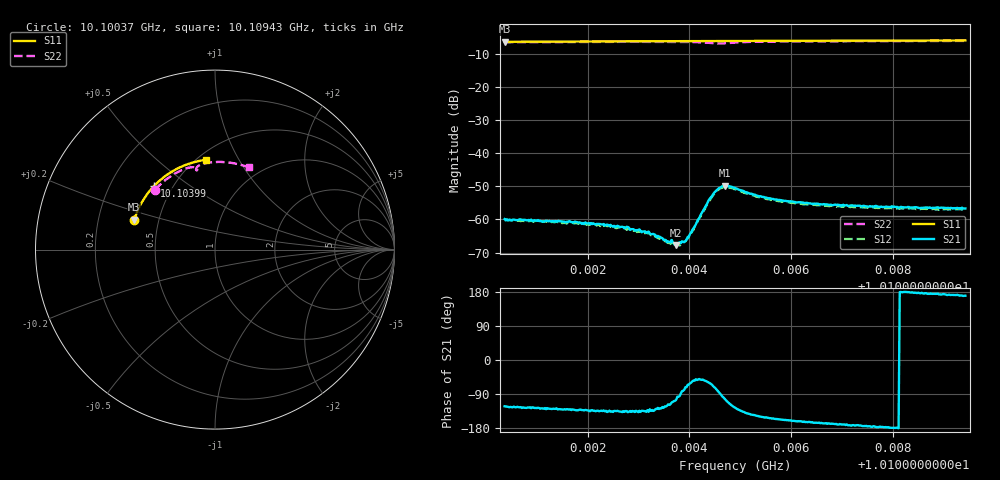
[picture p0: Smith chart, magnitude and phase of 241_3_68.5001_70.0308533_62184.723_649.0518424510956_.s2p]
#  HZ  S  RI  R  50.00
! Rohde & Schwarz Vector Network Analyzer
! Rohde-Schwarz,ZNB20-2Port,1311601062101988,3.16
! Created: UTC 3/20/2024, 4:59:22 PM
! freq[Hz]  re:S11  im:S11  re:S21  im:S21  re:S12  im:S12  re:S22  im:S22
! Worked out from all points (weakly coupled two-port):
!   401 points, 10.10037 GHz to 10.10943 GHz, reference 50 ohm
!   highest |S21| = -49.82 dB at 10.10469 GHz (marker M1); lowest = -67.7 dB at 10.10374 GHz (marker M2)
!   lowest |S11| = -6.4 dB at 10.10037 GHz (marker M3), VSWR 2.84, Z = 18.1 + j7.85 ohm
!   |S11| at or under -10 dB: nowhere
!   |S22| runs from -6.9 to -6.1 dB; largest |S21 - S12| = 0.00033
!   S11 on the Smith chart (normalised r, x): 10.10037 GHz: 0.36, +0.16; 10.10399 GHz: 0.40, +0.37; 10.10943 GHz: 0.55, +0.74
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1.0100367e10  -0.4497 0.1672  -0.000538 -0.000857  -0.00045 -0.000852  -0.3343 0.3337
1.010107e10  -0.4351 0.2073  -0.000595 -0.000745  -0.000518 -0.000788  -0.3023 0.3658
1.0101636e10  -0.4208 0.2389  -0.000615 -0.000714  -0.000527 -0.000689  -0.2741 0.3895
1.0101885e10  -0.4139 0.2524  -0.000575 -0.000634  -0.00053 -0.000673  -0.2611 0.3992
1.0102315e10  -0.4008 0.2751  -0.000585 -0.000623  -0.000529 -0.000599  -0.2379 0.4149
1.0102769e10  -0.3857 0.2982  -0.000546 -0.000552  -0.000443 -0.000539  -0.2118 0.4299
1.0103176e10  -0.3711 0.318  -0.000435 -0.000476  -0.000401 -0.000471  -0.1871 0.4419
1.0103403e10  -0.3625 0.3287  -0.000352 -0.000427  -0.000286 -0.000427  -0.173 0.448
1.0103607e10  -0.3544 0.3382  -0.000219 -0.000402  -0.000193 -0.0004  -0.1593 0.4527
1.0103743e10  -0.349 0.3443  -0.000105 -0.0004  -5.95e-05 -0.000406  -0.1499 0.4555
1.0103856e10  -0.3444 0.3496  6.3e-05 -0.000463  7.36e-05 -0.000409  -0.1417 0.4574
1.0103924e10  -0.3415 0.3526  0.000149 -0.000448  0.000159 -0.000441  -0.1367 0.4583
1.0103992e10  -0.3386 0.3555  0.000236 -0.0005  0.000284 -0.000471  -0.1313 0.4589
1.0104445e10  -0.3191 0.3747  0.000948 -0.00204  0.00107 -0.00191  -0.0992 0.4482
1.0104558e10  -0.314 0.3792  0.00043 -0.00282  0.000646 -0.00269  -0.0998 0.4424
1.0104694e10  -0.308 0.3846  -0.000674 -0.00316  -0.000389 -0.00307  -0.1045 0.4437
1.0104898e10  -0.2985 0.3927  -0.00175 -0.00243  -0.00146 -0.00246  -0.1023 0.4569
1.0105147e10  -0.287 0.4022  -0.00198 -0.00159  -0.00177 -0.0017  -0.0875 0.4694
1.0105555e10  -0.2671 0.4169  -0.00186 -0.000966  -0.0017 -0.00107  -0.0591 0.4798
1.0106415e10  -0.2226 0.4443  -0.00166 -0.000474  -0.00158 -0.000603  -0.00148 0.488
1.0107933e10  -0.1386 0.4806  -0.00154 -4.09e-05  -0.00147 -0.000201  0.0967 0.4824
1.0109428e10  -0.0503 0.5003  -0.00144 0.000262  -0.00143 9.59e-05  0.1888 0.4576
